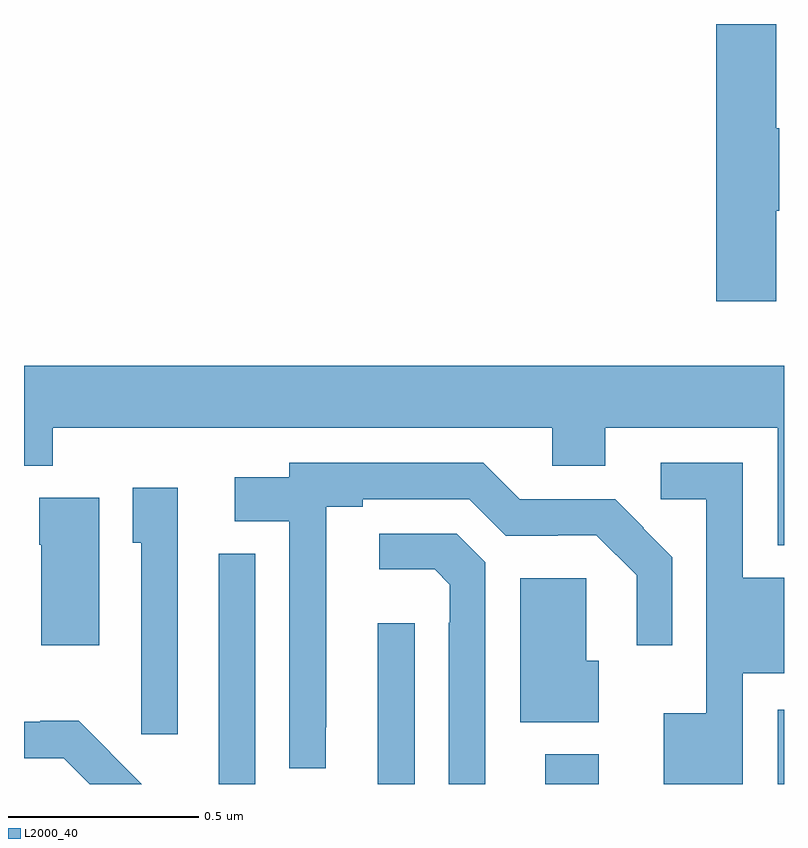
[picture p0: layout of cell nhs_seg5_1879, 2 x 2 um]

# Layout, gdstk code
import gdstk
lib = gdstk.Library(unit=1e-6, precision=1e-09)
def R(c, l, rs):  # rectangles x0, y0, x1, y1
    for r in rs: c.add(gdstk.rectangle(r[:2], r[2:], *l))
def P(c, l, *ps):  # polygons
    for p in ps: c.add(gdstk.Polygon(p, *l))
L2000_40 = (2000, 40)

nhs_seg5_1879 = lib.new_cell('nhs_seg5_1879')
R(nhs_seg5_1879, L2000_40, [(136.512,879.799,136.608,880.405), (136.931,879.799,137.028,880.222), (137.372,879.799,137.512,879.877), (137.984,879.799,138,879.994)])
P(nhs_seg5_1879, L2000_40, [(137.98,881.308),(137.988,881.308),(137.988,881.525),(137.98,881.525),(137.98,881.799),(137.822,881.799),(137.822,881.07),(137.98,881.07)],
  [(138,880.9),(136,880.9),(136,880.637),(136.076,880.637),(136.076,880.736),(137.39,880.736),(137.39,880.637),(137.53,880.637),(137.53,880.736),(137.984,880.736),(137.984,880.427),(138,880.427)],
  [(136.794,879.949),(136.795,879.949),(136.795,880.528),(136.891,880.528),(136.891,880.548),(137.172,880.548),(137.268,880.452),(137.404,880.452),(137.404,880.454),(137.506,880.454),(137.612,880.349),(137.612,880.164),(137.706,880.164),(137.706,880.396),(137.63,880.472),(137.631,880.473),(137.556,880.548),(137.305,880.548),(137.209,880.644),(136.698,880.644),(136.698,880.606),(136.554,880.606),(136.554,880.49),(136.698,880.49),(136.698,879.841),(136.794,879.841)],
  [(137.892,880.091),(138,880.091),(138,880.342),(137.892,880.342),(137.892,880.644),(137.676,880.644),(137.676,880.548),(137.796,880.548),(137.796,879.985),(137.684,879.985),(137.684,879.799),(137.892,879.799)],
  [(136.404,880.579),(136.286,880.579),(136.286,880.434),(136.308,880.434),(136.308,879.93),(136.404,879.93)],
  [(136.198,880.552),(136.04,880.552),(136.04,880.428),(136.046,880.428),(136.046,880.164),(136.198,880.164)],
  [(137.214,880.383),(137.139,880.458),(136.935,880.458),(136.935,880.364),(137.081,880.364),(137.121,880.323),(137.121,880.223),(137.118,880.223),(137.118,879.799),(137.214,879.799)],
  [(137.512,880.123),(137.479,880.123),(137.479,880.341),(137.306,880.341),(137.306,879.962),(137.512,879.962)],
  [(136.144,879.965),(136.043,879.965),(136.043,879.963),(136,879.963),(136,879.867),(136.104,879.867),(136.173,879.799),(136.31,879.799)])

lib.write_gds('nhs_seg5_1879.gds')
